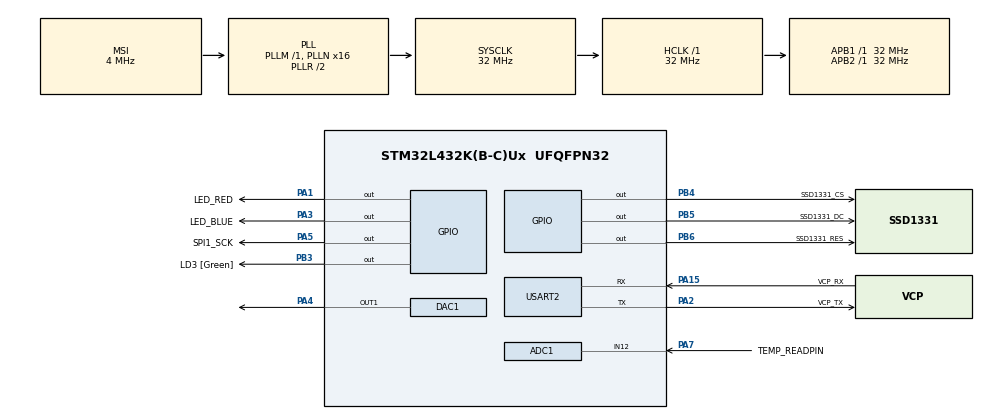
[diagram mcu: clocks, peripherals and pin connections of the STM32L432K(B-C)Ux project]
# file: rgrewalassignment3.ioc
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ADC1.Channel-0\#ChannelRegularConversion=ADC_CHANNEL_12
ADC1.NbrOfConversionFlag=1
ADC1.OffsetNumber-0\#ChannelRegularConversion=ADC_OFFSET_NONE
ADC1.Rank-0\#ChannelRegularConversion=1
ADC1.SamplingTime-0\#ChannelRegularConversion=ADC_SAMPLETIME_2CYCLES_5
ADC1.master=1
Mcu.Family=STM32L4
Mcu.Name=STM32L432K(B-C)Ux
Mcu.Package=UFQFPN32
NVIC.PriorityGroup=NVIC_PRIORITYGROUP_4
PA0.GPIO_Label=MCO [High speed clock in]
PA0.Mode=HSE-External-Clock-Source-for-LittleOrca
PA0.Signal=RCC_CK_IN
PA1.GPIO_Label=LED_RED
PA1.Signal=GPIO_Output
PA13\ (JTMS-SWDIO).GPIO_Label=SWDIO
PA13\ (JTMS-SWDIO).Mode=Serial_Wire
PA13\ (JTMS-SWDIO).Signal=SYS_JTMS-SWDIO
PA14\ (JTCK-SWCLK).GPIO_Label=SWCLK
PA14\ (JTCK-SWCLK).Mode=Serial_Wire
PA14\ (JTCK-SWCLK).Signal=SYS_JTCK-SWCLK
PA15\ (JTDI).GPIO_Label=VCP_RX
PA15\ (JTDI).Mode=Asynchronous
PA15\ (JTDI).Signal=USART2_RX
PA2.GPIO_Label=VCP_TX
PA2.Mode=Asynchronous
PA2.Signal=USART2_TX
PA3.GPIO_Label=LED_BLUE
PA3.Signal=GPIO_Output
PA4.Signal=COMP_DAC11_group
PA5.GPIO_Label=SPI1_SCK
PA5.Signal=GPIO_Output
PA7.GPIO_Label=TEMP_READPIN
PA7.Signal=ADCx_IN12
PB3\ (JTDO-TRACESWO).GPIO_Label=LD3 [Green]
PB3\ (JTDO-TRACESWO).Signal=GPIO_Output
PB4\ (NJTRST).GPIO_Label=SSD1331_CS
PB4\ (NJTRST).Signal=GPIO_Output
PB5.GPIO_Label=SSD1331_DC
PB5.Signal=GPIO_Output
PB6.GPIO_Label=SSD1331_RES
PB6.Signal=GPIO_Output
PC14-OSC32_IN\ (PC14).Mode=LSE-External-Oscillator
PC14-OSC32_IN\ (PC14).Signal=RCC_OSC32_IN
PC15-OSC32_OUT\ (PC15).Mode=LSE-External-Oscillator
PC15-OSC32_OUT\ (PC15).Signal=RCC_OSC32_OUT
ProjectManager.HeapSize=0x200
ProjectManager.StackSize=0x400
ProjectManager.TargetToolchain=STM32CubeIDE
RCC.ADCFreq_Value=32000000
RCC.AHBFreq_Value=32000000
RCC.APB1Freq_Value=32000000
RCC.APB1TimFreq_Value=32000000
RCC.APB2Freq_Value=32000000
RCC.APB2TimFreq_Value=32000000
RCC.CortexFreq_Value=32000000
RCC.HCLKFreq_Value=32000000
RCC.HSE_VALUE=8000000
RCC.HSI16_VALUE=16000000
RCC.HSI48_VALUE=48000000
RCC.HSI_VALUE=16000000
RCC.MSI_VALUE=4000000
RCC.PLLMUL=RCC_PLLMUL_4
RCC.PLLN=16
RCC.PLLSAI1N=16
RCC.SYSCLKFreq_VALUE=32000000
RCC.SYSCLKSource=RCC_SYSCLKSOURCE_PLLCLK
RCC.USBFreq_Value=32000000
RCC.VCOOutputFreq_Value=64000000
SH.ADCx_IN12.0=ADC1_IN12,IN12-Single-Ended
SH.COMP_DAC11_group.0=DAC1_OUT1,DAC_OUT1
USART2.VirtualMode-Asynchronous=VM_ASYNC
board=NUCLEO-L432KC

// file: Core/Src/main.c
/* USER CODE BEGIN Header */
/**
  ******************************************************************************
  * @file           : main.c
  * @brief          : Main program body
  ******************************************************************************
  * @attention
  *
  * Copyright (c) 2022 STMicroelectronics.
  * All rights reserved.
  *
  * This software is licensed under terms that can be found in the LICENSE file
  * in the root directory of this software component.
  * If no LICENSE file comes with this software, it is provided AS-IS.
  *
  ******************************************************************************
  */
/* USER CODE END Header */
#include "main.h"

/* USER CODE BEGIN Includes */
#include "ssd1331.h"
#include "logo.h"
#include "stdint.h"
#include "string.h"
/* USER CODE END Includes */

SPI_HandleTypeDef hspi1;
ADC_HandleTypeDef hadc1;

DAC_HandleTypeDef hdac1;

UART_HandleTypeDef huart2;

void SystemClock_Config(void);
static void MX_GPIO_Init(void);
static void MX_USART2_UART_Init(void);
static void MX_SPI1_Init(void);
static void MX_ADC1_Init(void);
static void MX_DAC1_Init(void);

int main(void)
{

  /* MCU Configuration--------------------------------------------------------*/

  /* Reset of all peripherals, Initializes the Flash interface and the Systick. */
  HAL_Init();

  /* Configure the system clock */
  SystemClock_Config();

  /* Initialize all configured peripherals */
  MX_GPIO_Init();
  MX_USART2_UART_Init();
  MX_ADC1_Init();
  MX_DAC1_Init();
  /* USER CODE BEGIN 2 */

  ssd1331_init();
  ssd1331_clear_screen(BLACK);
  /* USER CODE END 2 */

  /* Infinite loop */
  /* USER CODE BEGIN WHILE */

  // predefine all the variables
  char str[80] = "Temp = 0.00C";
  uint32_t temperature;
  char color = 'w';
  char prevColor = 'w';
  uint32_t greenValue;
  float floatTemperature;
  int decimalTemperature;
  while (1)
  {
    /* USER CODE END WHILE */

    /* USER CODE BEGIN 3 */

    // start the analog to digital convertor
    if(HAL_ADC_Start(&hadc1) != HAL_OK){
      printf("HAL_ADC_Start Error \r\n");
    }
    if(HAL_ADC_PollForConversion(&hadc1,10) != HAL_OK){
      printf("HAL_ADC_PollForConversion Error \r\n");
    }else{
      // get the value from the temperature sensor
      temperature = HAL_ADC_GetValue(&hadc1);
    }

    // start the digital to analog convertor
    if(HAL_DAC_Start(&hdac1, DAC_CHANNEL_1) != HAL_OK){
      printf("HAL_DAC_Start Error \r\n");
    }
    // convert the value from the sensor to Celsius following the formula given in the document
    floatTemperature = (float)(temperature - 500)/10;
    temperature = (uint32_t)(temperature - 500)/10;
    // get the decimal value from the float so we can added it into string as float can't be used with stm32
    decimalTemperature = (floatTemperature - temperature) * 100;
    // get the color according to the question and the temperature
    if(temperature >= -15){
      color = 'w';
    }else if(temperature < 5 && temperature >= -15){
      color = 'b';
    }else if(temperature < 15 && temperature >= 5){
      color = 'y';
    }else if(temperature < 25 && temperature >= 15){
      color = 'o';
    }else if(temperature >= 25){
      color = 'r';
    }
    // if the color changes we will clear the screen
    if(prevColor != color){
      ssd1331_clear_screen(BLACK);
    }
    prevColor = color;

    // if there is no decimal position in the formula we will format the string accordingly
    if(decimalTemperature == 0){
      sprintf(str,"Temp = %d.00 C",temperature);
    }else{
      sprintf(str,"Temp = %d.%d C",temperature,decimalTemperature);
    }
    // display the string to the display unit
    ssd1331_display_string(0,0,str,FONT_1206,WHITE);

    // light up the leds according to which the table given
    switch(color){
      case 'w':
        HAL_GPIO_WritePin(GPIOA, LED_BLUE_Pin,GPIO_PIN_SET);
        HAL_GPIO_WritePin(GPIOA, LED_RED_Pin, GPIO_PIN_SET);
        greenValue = (3.3 * (4096)) / 3.3;
        HAL_DAC_SetValue(&hdac1,DAC_CHANNEL_1, DAC_ALIGN_12B_R,greenValue);
        break;
      case 'b':
        HAL_GPIO_WritePin(GPIOA, LED_BLUE_Pin,GPIO_PIN_SET);
        HAL_GPIO_WritePin(GPIOA, LED_RED_Pin, GPIO_PIN_RESET);
        greenValue = (0 * (4096)) / 3.3;
        HAL_DAC_SetValue(&hdac1,DAC_CHANNEL_1, DAC_ALIGN_12B_R,greenValue);
        break;
      case 'y':
        HAL_GPIO_WritePin(GPIOA, LED_BLUE_Pin,GPIO_PIN_RESET);
        HAL_GPIO_WritePin(GPIOA, LED_RED_Pin, GPIO_PIN_SET);
        greenValue = (3 * (4096)) / 3.3;
        HAL_DAC_SetValue(&hdac1,DAC_CHANNEL_1, DAC_ALIGN_12B_R,greenValue);
        break;
      case 'o':
        HAL_GPIO_WritePin(GPIOA, LED_BLUE_Pin,GPIO_PIN_RESET);
        HAL_GPIO_WritePin(GPIOA, LED_RED_Pin, GPIO_PIN_SET);
        greenValue = (2.5 * (4096)) / 3.3;
        HAL_DAC_SetValue(&hdac1,DAC_CHANNEL_1, DAC_ALIGN_12B_R,greenValue);
        break;
      case 'r':
        HAL_GPIO_WritePin(GPIOA, LED_BLUE_Pin,GPIO_PIN_RESET);
        HAL_GPIO_WritePin(GPIOA, LED_RED_Pin, GPIO_PIN_SET);
        greenValue = (0 * (4096)) / 3.3;
        HAL_DAC_SetValue(&hdac1,DAC_CHANNEL_1, DAC_ALIGN_12B_R,greenValue);
        break;
      default:
        HAL_GPIO_WritePin(GPIOA, LED_BLUE_Pin,GPIO_PIN_RESET);
        HAL_GPIO_WritePin(GPIOA, LED_RED_Pin, GPIO_PIN_RESET);
        greenValue = (0 * (4096)) / 3.3;
        HAL_DAC_SetValue(&hdac1,DAC_CHANNEL_1, DAC_ALIGN_12B_R,greenValue);
        break;
    }
    HAL_Delay(1000);
  }
  /* USER CODE END 3 */
}

void SystemClock_Config(void)
{
  RCC_OscInitTypeDef RCC_OscInitStruct = {0};
  RCC_ClkInitTypeDef RCC_ClkInitStruct = {0};

  /** Configure the main internal regulator output voltage
  */
  if (HAL_PWREx_ControlVoltageScaling(PWR_REGULATOR_VOLTAGE_SCALE1) != HAL_OK)
  {
    Error_Handler();
  }

  /** Configure LSE Drive Capability
  */
  HAL_PWR_EnableBkUpAccess();
  __HAL_RCC_LSEDRIVE_CONFIG(RCC_LSEDRIVE_LOW);

  /** Initializes the RCC Oscillators according to the specified parameters
  * in the RCC_OscInitTypeDef structure.
  */
  RCC_OscInitStruct.OscillatorType = RCC_OSCILLATORTYPE_LSE|RCC_OSCILLATORTYPE_MSI;
  RCC_OscInitStruct.LSEState = RCC_LSE_ON;
  RCC_OscInitStruct.MSIState = RCC_MSI_ON;
  RCC_OscInitStruct.MSICalibrationValue = 0;
  RCC_OscInitStruct.MSIClockRange = RCC_MSIRANGE_6;
  RCC_OscInitStruct.PLL.PLLState = RCC_PLL_ON;
  RCC_OscInitStruct.PLL.PLLSource = RCC_PLLSOURCE_MSI;
  RCC_OscInitStruct.PLL.PLLM = 1;
  RCC_OscInitStruct.PLL.PLLN = 16;
  RCC_OscInitStruct.PLL.PLLP = RCC_PLLP_DIV7;
  RCC_OscInitStruct.PLL.PLLQ = RCC_PLLQ_DIV2;
  RCC_OscInitStruct.PLL.PLLR = RCC_PLLR_DIV2;
  if (HAL_RCC_OscConfig(&RCC_OscInitStruct) != HAL_OK)
  {
    Error_Handler();
  }

  /** Initializes the CPU, AHB and APB buses clocks
  */
  RCC_ClkInitStruct.ClockType = RCC_CLOCKTYPE_HCLK|RCC_CLOCKTYPE_SYSCLK
                              |RCC_CLOCKTYPE_PCLK1|RCC_CLOCKTYPE_PCLK2;
  RCC_ClkInitStruct.SYSCLKSource = RCC_SYSCLKSOURCE_PLLCLK;
  RCC_ClkInitStruct.AHBCLKDivider = RCC_SYSCLK_DIV1;
  RCC_ClkInitStruct.APB1CLKDivider = RCC_HCLK_DIV1;
  RCC_ClkInitStruct.APB2CLKDivider = RCC_HCLK_DIV1;

  if (HAL_RCC_ClockConfig(&RCC_ClkInitStruct, FLASH_LATENCY_1) != HAL_OK)
  {
    Error_Handler();
  }

  /** Enable MSI Auto calibration
  */
  HAL_RCCEx_EnableMSIPLLMode();
}

static void MX_ADC1_Init(void)
{

  ADC_ChannelConfTypeDef sConfig = {0};

  /* SPI1 parameter configuration*/
  hspi1.Instance = SPI1;
  hspi1.Init.Mode = SPI_MODE_MASTER;
  hspi1.Init.Direction = SPI_DIRECTION_2LINES;
  hspi1.Init.DataSize = SPI_DATASIZE_8BIT;
  hspi1.Init.CLKPolarity = SPI_POLARITY_LOW;
  hspi1.Init.CLKPhase = SPI_PHASE_1EDGE;
  hspi1.Init.NSS = SPI_NSS_SOFT;
  hspi1.Init.BaudRatePrescaler = SPI_BAUDRATEPRESCALER_8;
  hspi1.Init.FirstBit = SPI_FIRSTBIT_MSB;
  hspi1.Init.TIMode = SPI_TIMODE_DISABLE;
  hspi1.Init.CRCCalculation = SPI_CRCCALCULATION_DISABLE;
  hspi1.Init.CRCPolynomial = 7;
  hspi1.Init.CRCLength = SPI_CRC_LENGTH_DATASIZE;
  hspi1.Init.NSSPMode = SPI_NSS_PULSE_ENABLE;
  if (HAL_SPI_Init(&hspi1) != HAL_OK)
  {
    Error_Handler();
  }

  /** Common config
  */
  hadc1.Instance = ADC1;
  hadc1.Init.ClockPrescaler = ADC_CLOCK_ASYNC_DIV1;
  hadc1.Init.Resolution = ADC_RESOLUTION_12B;
  hadc1.Init.DataAlign = ADC_DATAALIGN_RIGHT;
  hadc1.Init.ScanConvMode = ADC_SCAN_DISABLE;
  hadc1.Init.EOCSelection = ADC_EOC_SINGLE_CONV;
  hadc1.Init.LowPowerAutoWait = DISABLE;
  hadc1.Init.ContinuousConvMode = DISABLE;
  hadc1.Init.NbrOfConversion = 1;
  hadc1.Init.DiscontinuousConvMode = DISABLE;
  hadc1.Init.ExternalTrigConv = ADC_SOFTWARE_START;
  hadc1.Init.ExternalTrigConvEdge = ADC_EXTERNALTRIGCONVEDGE_NONE;
  hadc1.Init.DMAContinuousRequests = DISABLE;
  hadc1.Init.Overrun = ADC_OVR_DATA_PRESERVED;
  hadc1.Init.OversamplingMode = DISABLE;
  if (HAL_ADC_Init(&hadc1) != HAL_OK)
  {
    Error_Handler();
  }

  /** Configure Regular Channel
  */
  sConfig.Channel = ADC_CHANNEL_12;
  sConfig.Rank = ADC_REGULAR_RANK_1;
  sConfig.SamplingTime = ADC_SAMPLETIME_2CYCLES_5;
  sConfig.SingleDiff = ADC_SINGLE_ENDED;
  sConfig.OffsetNumber = ADC_OFFSET_NONE;
  sConfig.Offset = 0;
  if (HAL_ADC_ConfigChannel(&hadc1, &sConfig) != HAL_OK)
  {
    Error_Handler();
  }

}

static void MX_DAC1_Init(void)
{

  DAC_ChannelConfTypeDef sConfig = {0};

  /** DAC Initialization
  */
  hdac1.Instance = DAC1;
  if (HAL_DAC_Init(&hdac1) != HAL_OK)
  {
    Error_Handler();
  }

  /** DAC channel OUT1 config
  */
  sConfig.DAC_SampleAndHold = DAC_SAMPLEANDHOLD_DISABLE;
  sConfig.DAC_Trigger = DAC_TRIGGER_NONE;
  sConfig.DAC_OutputBuffer = DAC_OUTPUTBUFFER_ENABLE;
  sConfig.DAC_ConnectOnChipPeripheral = DAC_CHIPCONNECT_DISABLE;
  sConfig.DAC_UserTrimming = DAC_TRIMMING_FACTORY;
  if (HAL_DAC_ConfigChannel(&hdac1, &sConfig, DAC_CHANNEL_1) != HAL_OK)
  {
    Error_Handler();
  }

}

static void MX_USART2_UART_Init(void)
{

  huart2.Instance = USART2;
  huart2.Init.BaudRate = 115200;
  huart2.Init.WordLength = UART_WORDLENGTH_8B;
  huart2.Init.StopBits = UART_STOPBITS_1;
  huart2.Init.Parity = UART_PARITY_NONE;
  huart2.Init.Mode = UART_MODE_TX_RX;
  huart2.Init.HwFlowCtl = UART_HWCONTROL_NONE;
  huart2.Init.OverSampling = UART_OVERSAMPLING_16;
  huart2.Init.OneBitSampling = UART_ONE_BIT_SAMPLE_DISABLE;
  huart2.AdvancedInit.AdvFeatureInit = UART_ADVFEATURE_NO_INIT;
  if (HAL_UART_Init(&huart2) != HAL_OK)
  {
    Error_Handler();
  }

}

static void MX_GPIO_Init(void)
{
  GPIO_InitTypeDef GPIO_InitStruct = {0};

  /* GPIO Ports Clock Enable */
  __HAL_RCC_GPIOC_CLK_ENABLE();
  __HAL_RCC_GPIOA_CLK_ENABLE();
  __HAL_RCC_GPIOB_CLK_ENABLE();

  /*Configure GPIO pin Output Level */
  HAL_GPIO_WritePin(GPIOA, LED_RED_Pin|LED_BLUE_Pin|SPI1_SCK_Pin, GPIO_PIN_RESET);

  /*Configure GPIO pin Output Level */
  HAL_GPIO_WritePin(GPIOB, LD3_Pin|SSD1331_CS_Pin|SSD1331_DC_Pin|SSD1331_RES_Pin, GPIO_PIN_RESET);

  /*Configure GPIO pins : LED_RED_Pin LED_BLUE_Pin SPI1_SCK_Pin */
  GPIO_InitStruct.Pin = LED_RED_Pin|LED_BLUE_Pin|SPI1_SCK_Pin;
  GPIO_InitStruct.Mode = GPIO_MODE_OUTPUT_PP;
  GPIO_InitStruct.Pull = GPIO_NOPULL;
  GPIO_InitStruct.Speed = GPIO_SPEED_FREQ_LOW;
  HAL_GPIO_Init(GPIOA, &GPIO_InitStruct);

  /*Configure GPIO pins : LD3_Pin SSD1331_CS_Pin SSD1331_DC_Pin SSD1331_RES_Pin */
  GPIO_InitStruct.Pin = LD3_Pin|SSD1331_CS_Pin|SSD1331_DC_Pin|SSD1331_RES_Pin;
  GPIO_InitStruct.Mode = GPIO_MODE_OUTPUT_PP;
  GPIO_InitStruct.Pull = GPIO_NOPULL;
  GPIO_InitStruct.Speed = GPIO_SPEED_FREQ_LOW;
  HAL_GPIO_Init(GPIOB, &GPIO_InitStruct);

}

void Error_Handler(void)
{
  __disable_irq();
  while (1)
  {
  }
}
